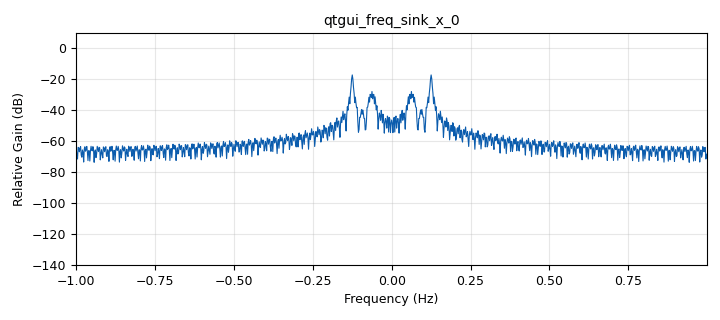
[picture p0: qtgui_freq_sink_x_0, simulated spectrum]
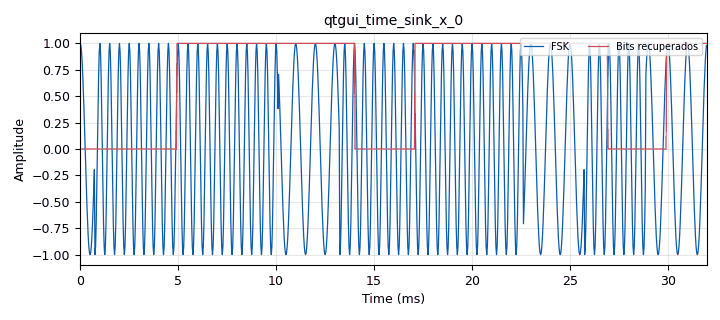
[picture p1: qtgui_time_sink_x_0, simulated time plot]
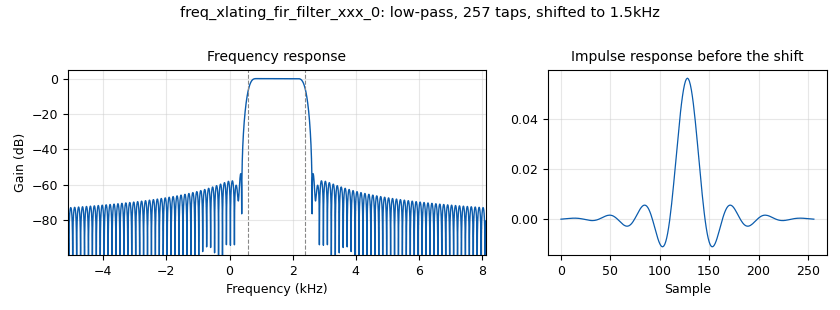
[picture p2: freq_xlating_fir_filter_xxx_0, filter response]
options:
  parameters:
    author: JuanDaviBarrero
    description: Primera modulación de FSK
    generate_options: qt_gui
    id: FSK
    output_language: python
    title: FSK
  states: {}

blocks:
- name: center_freq
  id: variable
  parameters:
    value: 1.5e3
  states: {}
- name: fsk_deviation
  id: variable
  parameters:
    value: '500'
  states: {}
- name: ndisp
  id: variable
  parameters:
    value: 2e3
  states: {}
- name: samp_rate
  id: variable
  parameters:
    value: '32000'
  states: {}
- name: analog_const_source_x_0
  id: analog_const_source_x
  parameters:
    const: '1'
    type: float
  states: {}
- name: analog_quadrature_demod_cf_0
  id: analog_quadrature_demod_cf
  parameters:
    gain: samp_rate/(2*math.pi*fsk_deviation/8.0)
  states: {}
- name: analog_random_source_x_0
  id: analog_random_source_x
  parameters:
    max: '2'
    min: '0'
    num_samps: '1000'
    repeat: 'True'
    type: byte
  states: {}
- name: analog_sig_source_x_0
  id: analog_sig_source_x
  parameters:
    amp: '1'
    freq: '1000'
    offset: '0'
    phase: '0'
    samp_rate: samp_rate
    type: float
    waveform: analog.GR_COS_WAVE
  states: {}
- name: analog_sig_source_x_0_0
  id: analog_sig_source_x
  parameters:
    amp: '1'
    freq: ndisp
    offset: '0'
    phase: '0'
    samp_rate: samp_rate
    type: float
    waveform: analog.GR_COS_WAVE
  states: {}
- name: blocks_add_xx_0
  id: blocks_add_xx
  parameters:
    type: float
  states: {}
- name: blocks_char_to_float_0
  id: blocks_char_to_float
  parameters:
    scale: '1'
  states: {}
- name: blocks_char_to_float_1
  id: blocks_char_to_float
  parameters:
    scale: '1'
  states: {}
- name: blocks_multiply_xx_0
  id: blocks_multiply_xx
  parameters:
    type: float
  states: {}
- name: blocks_multiply_xx_0_0
  id: blocks_multiply_xx
  parameters:
    type: float
  states: {}
- name: blocks_repeat_0
  id: blocks_repeat
  parameters:
    interp: '100'
    type: byte
  states: {}
- name: blocks_sub_xx_0
  id: blocks_sub_xx
  parameters:
    type: float
  states: {}
- name: digital_binary_slicer_fb_0
  id: digital_binary_slicer_fb
  parameters: {}
  states: {}
- name: freq_xlating_fir_filter_xxx_0
  id: freq_xlating_fir_filter_xxx
  parameters:
    center_freq: center_freq
    decim: '1'
    samp_rate: samp_rate
    taps: firdes.low_pass(1.0,samp_rate,900,300)
    type: fcf
  states: {}
- name: import_1
  id: import
  parameters:
    imports: import math
  states: {}
- name: qtgui_freq_sink_x_0
  id: qtgui_freq_sink_x
  parameters:
    bw: '2'
    fc: '0'
    fftsize: '1024'
    type: float
    wintype: firdes.WIN_BLACKMAN_hARRIS
  states: {}
- name: qtgui_time_sink_x_0
  id: qtgui_time_sink_x
  parameters:
    autoscale: 'True'
    label1: FSK
    label2: Bits recuperados
    nconnections: '2'
    size: '1024'
    srate: samp_rate
    type: float
    width1: '2'
    width2: '2'
  states: {}

connections:
- [analog_const_source_x_0, '0', blocks_sub_xx_0, '0']
- [analog_quadrature_demod_cf_0, '0', digital_binary_slicer_fb_0, '0']
- [analog_random_source_x_0, '0', blocks_repeat_0, '0']
- [analog_sig_source_x_0, '0', blocks_multiply_xx_0, '1']
- [analog_sig_source_x_0_0, '0', blocks_multiply_xx_0_0, '0']
- [blocks_add_xx_0, '0', freq_xlating_fir_filter_xxx_0, '0']
- [blocks_add_xx_0, '0', qtgui_freq_sink_x_0, '0']
- [blocks_add_xx_0, '0', qtgui_time_sink_x_0, '0']
- [blocks_char_to_float_0, '0', blocks_multiply_xx_0_0, '1']
- [blocks_char_to_float_0, '0', blocks_sub_xx_0, '1']
- [blocks_char_to_float_1, '0', qtgui_time_sink_x_0, '1']
- [blocks_multiply_xx_0, '0', blocks_add_xx_0, '1']
- [blocks_multiply_xx_0_0, '0', blocks_add_xx_0, '0']
- [blocks_repeat_0, '0', blocks_char_to_float_0, '0']
- [blocks_sub_xx_0, '0', blocks_multiply_xx_0, '0']
- [digital_binary_slicer_fb_0, '0', blocks_char_to_float_1, '0']
- [freq_xlating_fir_filter_xxx_0, '0', analog_quadrature_demod_cf_0, '0']

metadata:
  file_format: 1
